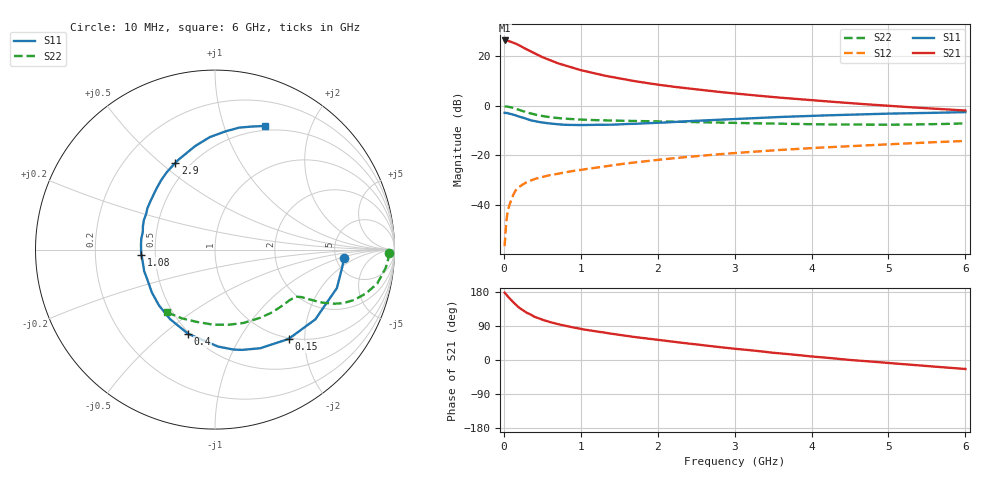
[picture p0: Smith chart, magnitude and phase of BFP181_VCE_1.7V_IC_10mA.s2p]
! Infineon Technologies  Discrete & RF Semiconductors
! BFP181
! VCE = 1.7 V,  IC =  10 mA
! Common Emitter S-Parameters:  Jan 2016
# GHz  S  MA  R  50
!  f  S11  S21  S12  S22
! GHz  MAG  ANG  MAG  ANG  MAG  ANG  MAG  ANG
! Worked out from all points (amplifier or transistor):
!   210 points, 10 MHz to 6 GHz, reference 50 ohm
!   highest |S21| = 26.2 dB at 10 MHz (marker M1)
!   |S21| within 3 dB of that: start of sweep to 260.9 MHz
!   unconditionally stable (mu >= 1): 878.6 MHz to end of sweep
!   at 185 MHz: K = 0.32, MSG = 28.8 dB, |S12| = -33.1 dB
!   at 1.52 GHz: K = 1.23, MAG = 14.3 dB, |S12| = -23.5 dB
!   at 6 GHz: K = 1.05, MAG = 4.7 dB, |S12| = -14.2 dB
!   S11 on the Smith chart (normalised r, x): 10 MHz: 5.88, -1.16; 150 MHz: 0.98, -1.67; 400 MHz: 0.49, -0.61; 1.08 GHz: 0.42, -0.03; 2.9 GHz: 0.42, +0.56; 6 GHz: 0.45, +1.38
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0.01  0.7188 -3.8  20.5 177.5  0.0015 81.7  0.9676 -1.0
0.02  0.7161 -7.5  20.49 175.6  0.0025 77.9  0.9696 -2.4
0.05  0.7122 -17.5  20.25 168.0  0.0075 83.4  0.9562 -6.2
0.1  0.6809 -34.8  19.12 156.9  0.0133 72.3  0.9232 -11.9
0.15  0.645 -50.5  17.81 146.7  0.0195 66.9  0.8733 -16.4
0.2  0.6047 -65.3  16.37 137.8  0.0233 61.3  0.8227 -20.0
0.24  0.579 -74.8  15.09 132.1  0.0257 58.5  0.7838 -22.1
0.3  0.5406 -88.2  13.53 124.5  0.0293 54.8  0.7327 -24.3
0.4  0.4926 -107.6  11.26 113.9  0.0336 51.2  0.6661 -26.3
0.5  0.4615 -122.7  9.477 106.1  0.037 48.1  0.6196 -27.3
0.6  0.4405 -135.2  8.235 100.0  0.0403 48.0  0.5876 -27.9
0.7  0.4249 -146.1  7.153 94.7  0.0427 47.9  0.5647 -28.4
0.8  0.4128 -154.8  6.401 90.0  0.0457 47.8  0.5486 -28.8
1.02  0.4087 -172.2  5.101 81.4  0.0518 48.2  0.5243 -30.2
1.08  0.4109 -175.9  4.85 79.3  0.0535 48.0  0.5195 -30.7
1.5  0.4226 161.9  3.54 66.3  0.0664 48.6  0.4996 -35.0
2.02  0.4538 140.8  2.626 52.6  0.082 47.6  0.4829 -42.0
2.9  0.531 114.6  1.825 31.9  0.1086 42.8  0.4548 -56.8
3.1  0.5484 109.7  1.704 27.9  0.1146 41.6  0.4475 -60.6
4.1  0.6334 91.0  1.257 7.7  0.1433 34.4  0.4227 -82.1
5.1  0.6968 77.7  0.971 -9.5  0.17 27.3  0.4157 -106.0
6  0.7426 68.1  0.8 -23.7  0.1956 20.0  0.4405 -127.7
